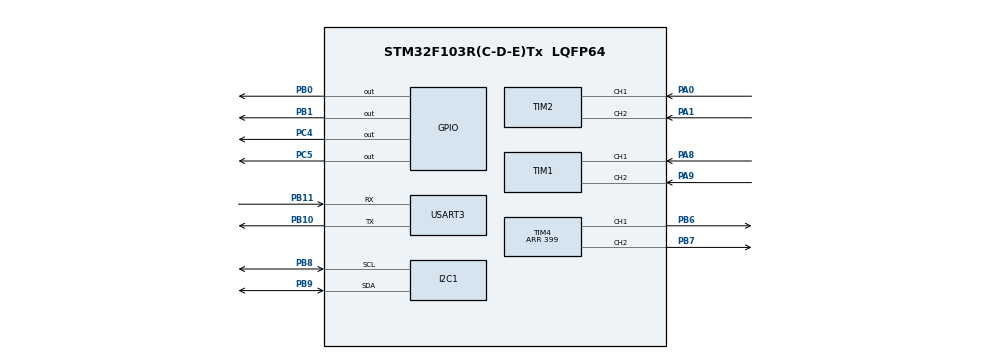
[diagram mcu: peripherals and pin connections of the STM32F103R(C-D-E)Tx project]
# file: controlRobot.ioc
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I2C1.I2C_Mode=I2C_Fast
Mcu.Family=STM32F1
Mcu.Name=STM32F103R(C-D-E)Tx
Mcu.Package=LQFP64
NVIC.PriorityGroup=NVIC_PRIORITYGROUP_4
PA0-WKUP.Signal=S_TIM2_CH1_ETR
PA1.Signal=S_TIM2_CH2
PA8.Signal=S_TIM1_CH1
PA9.Signal=S_TIM1_CH2
PB0.Signal=GPIO_Output
PB1.Signal=GPIO_Output
PB10.Mode=Asynchronous
PB10.Signal=USART3_TX
PB11.Mode=Asynchronous
PB11.Signal=USART3_RX
PB6.Signal=S_TIM4_CH1
PB7.Signal=S_TIM4_CH2
PB8.Mode=I2C
PB8.Signal=I2C1_SCL
PB9.Mode=I2C
PB9.Signal=I2C1_SDA
PC4.Signal=GPIO_Output
PC5.Signal=GPIO_Output
ProjectManager.HeapSize=0x200
ProjectManager.StackSize=0x400
ProjectManager.TargetToolchain=STM32CubeIDE
RCC.APB1Freq_Value=8000000
RCC.APB2Freq_Value=8000000
SH.S_TIM1_CH1.0=TIM1_CH1,Encoder_Interface
SH.S_TIM1_CH2.0=TIM1_CH2,Encoder_Interface
SH.S_TIM2_CH1_ETR.0=TIM2_CH1,Encoder_Interface
SH.S_TIM2_CH2.0=TIM2_CH2,Encoder_Interface
SH.S_TIM4_CH1.0=TIM4_CH1,PWM Generation1 CH1
SH.S_TIM4_CH2.0=TIM4_CH2,PWM Generation2 CH2
TIM4.Channel-PWM\ Generation1\ CH1=TIM_CHANNEL_1
TIM4.Channel-PWM\ Generation2\ CH2=TIM_CHANNEL_2
TIM4.Period=399
TIM6.Period=499
TIM6.Prescaler=79
USART3.VirtualMode=VM_ASYNC
VP_SYS_VS_ND.Mode=No_Debug
VP_TIM6_VS_ClockSourceINT.Mode=Enable_Timer
board=custom

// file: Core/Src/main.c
/* USER CODE BEGIN Header */
/**
  ******************************************************************************
  * @file           : main.c
  * @brief          : Main program body
  ******************************************************************************
  * @attention
  *
  * Copyright (c) 2026 STMicroelectronics.
  * All rights reserved.
  *
  * This software is licensed under terms that can be found in the LICENSE file
  * in the root directory of this software component.
  * If no LICENSE file comes with this software, it is provided AS-IS.
  *
  ******************************************************************************
  */
/* USER CODE END Header */
#include "main.h"
#include <stdio.h>
#include <math.h>

/* USER CODE BEGIN PD */
#define MPU6050_ADDR     0xD0   /* AD0 en bajo → dirección 0x68 shifteada */
#define MPU6050_PWR_MGT  0x6B
#define MPU6050_ACCEL    0x3B
#define MPU6050_GYRO     0x43
#define RAD_TO_DEG       57.2957795f
#define ALPHA            0.98f  /* filtro complementario */
#define DT               0.005f /* 5 ms = 200 Hz */
/* USER CODE END PD */

I2C_HandleTypeDef hi2c1;

TIM_HandleTypeDef htim1;
TIM_HandleTypeDef htim2;
TIM_HandleTypeDef htim4;
TIM_HandleTypeDef htim6;

UART_HandleTypeDef huart3;

/* USER CODE BEGIN PV */
/* Datos crudos MPU6050 */
int16_t ax_raw, ay_raw, az_raw;
int16_t gx_raw, gy_raw, gz_raw;
float angulo = 0.0f;
char uart_buf[64];
/* USER CODE END PV */

void SystemClock_Config(void);
static void MX_GPIO_Init(void);
static void MX_I2C1_Init(void);
static void MX_TIM1_Init(void);
static void MX_TIM2_Init(void);
static void MX_TIM4_Init(void);
static void MX_TIM6_Init(void);
static void MX_USART3_UART_Init(void);

/* USER CODE BEGIN 0 */
int32_t encoder1 = 0;
int32_t encoder2 = 0;

void Leer_Encoders(void)
{
    encoder1 = (int16_t)TIM1->CNT;
    encoder2 = (int16_t)TIM2->CNT;
    TIM1->CNT = 0;
    TIM2->CNT = 0;
}

void MPU6050_Init(void){
	uint8_t data = 0x00;
	HAL_I2C_Mem_Write(&hi2c1, MPU6050_ADDR, MPU6050_PWR_MGT, 1, &data, 1, HAL_MAX_DELAY);
}

void MPU6050_Read(void){
	uint8_t buf[14];
	HAL_I2C_Mem_Read(&hi2c1, MPU6050_ADDR, MPU6050_ACCEL, 1, buf, 14, HAL_MAX_DELAY);
    ax_raw = (int16_t)(buf[0]  << 8 | buf[1]);
    ay_raw = (int16_t)(buf[2]  << 8 | buf[3]);
    az_raw = (int16_t)(buf[4]  << 8 | buf[5]);
    /* buf[6] y buf[7] son temperatura, los saltamos */
    gx_raw = (int16_t)(buf[8]  << 8 | buf[9]);
    gy_raw = (int16_t)(buf[10] << 8 | buf[11]);
    gz_raw = (int16_t)(buf[12] << 8 | buf[13]);
}
/* USER CODE END 0 */

int main(void)
{

  /* MCU Configuration--------------------------------------------------------*/

  /* Reset of all peripherals, Initializes the Flash interface and the Systick. */
  HAL_Init();

  /* Configure the system clock */
  SystemClock_Config();

  /* Initialize all configured peripherals */
  MX_GPIO_Init();
  MX_I2C1_Init();
  MX_TIM1_Init();
  MX_TIM2_Init();
  MX_TIM4_Init();
  MX_TIM6_Init();
  MX_USART3_UART_Init();
  /* USER CODE BEGIN 2 */

  HAL_TIM_PWM_Start(&htim4, TIM_CHANNEL_1);
  HAL_TIM_PWM_Start(&htim4, TIM_CHANNEL_2);
  HAL_TIM_Encoder_Start(&htim1, TIM_CHANNEL_ALL);
  HAL_TIM_Encoder_Start(&htim2, TIM_CHANNEL_ALL);
  MPU6050_Init();
  HAL_TIM_Base_Start_IT(&htim6);
  /* USER CODE END 2 */

  /* Infinite loop */
  /* USER CODE BEGIN WHILE */
  while (1)
  {
	  /* ── PRUEBA 1: Motor A adelante ── */
	  HAL_GPIO_WritePin(GPIOC, GPIO_PIN_4, GPIO_PIN_SET);
	  HAL_GPIO_WritePin(GPIOC, GPIO_PIN_5, GPIO_PIN_RESET);
	  __HAL_TIM_SET_COMPARE(&htim4, TIM_CHANNEL_1, 200); /* 50% velocidad */
	  __HAL_TIM_SET_COMPARE(&htim4, TIM_CHANNEL_2, 0);
	  HAL_Delay(2000);

	  /* ── PRUEBA 2: Motor A atrás ── */
	  HAL_GPIO_WritePin(GPIOC, GPIO_PIN_4, GPIO_PIN_RESET);
	  HAL_GPIO_WritePin(GPIOC, GPIO_PIN_5, GPIO_PIN_SET);
	  __HAL_TIM_SET_COMPARE(&htim4, TIM_CHANNEL_1, 200);
	  __HAL_TIM_SET_COMPARE(&htim4, TIM_CHANNEL_2, 0);
	  HAL_Delay(2000);

	  /* ── PRUEBA 3: Motor B adelante ── */
	  HAL_GPIO_WritePin(GPIOB, GPIO_PIN_0, GPIO_PIN_SET);
	  HAL_GPIO_WritePin(GPIOB, GPIO_PIN_1, GPIO_PIN_RESET);
	  __HAL_TIM_SET_COMPARE(&htim4, TIM_CHANNEL_1, 0);
	  __HAL_TIM_SET_COMPARE(&htim4, TIM_CHANNEL_2, 200);
	  HAL_Delay(2000);

	  /* ── PRUEBA 4: Motor B atrás ── */
	  HAL_GPIO_WritePin(GPIOB, GPIO_PIN_0, GPIO_PIN_RESET);
	  HAL_GPIO_WritePin(GPIOB, GPIO_PIN_1, GPIO_PIN_SET);
	  __HAL_TIM_SET_COMPARE(&htim4, TIM_CHANNEL_1, 0);
	  __HAL_TIM_SET_COMPARE(&htim4, TIM_CHANNEL_2, 200);
	  HAL_Delay(2000);

	  /* ── Parar todo ── */
	  HAL_GPIO_WritePin(GPIOC, GPIO_PIN_4|GPIO_PIN_5, GPIO_PIN_RESET);
	  HAL_GPIO_WritePin(GPIOB, GPIO_PIN_0|GPIO_PIN_1, GPIO_PIN_RESET);
	  __HAL_TIM_SET_COMPARE(&htim4, TIM_CHANNEL_1, 0);
	  __HAL_TIM_SET_COMPARE(&htim4, TIM_CHANNEL_2, 0);
	  HAL_Delay(2000);
    /* USER CODE END WHILE */

  }
}

void SystemClock_Config(void)
{
  RCC_OscInitTypeDef RCC_OscInitStruct = {0};
  RCC_ClkInitTypeDef RCC_ClkInitStruct = {0};

  /** Initializes the RCC Oscillators according to the specified parameters
  * in the RCC_OscInitTypeDef structure.
  */
  RCC_OscInitStruct.OscillatorType = RCC_OSCILLATORTYPE_HSI;
  RCC_OscInitStruct.HSIState = RCC_HSI_ON;
  RCC_OscInitStruct.HSICalibrationValue = RCC_HSICALIBRATION_DEFAULT;
  RCC_OscInitStruct.PLL.PLLState = RCC_PLL_NONE;
  if (HAL_RCC_OscConfig(&RCC_OscInitStruct) != HAL_OK)
  {
    Error_Handler();
  }

  /** Initializes the CPU, AHB and APB buses clocks
  */
  RCC_ClkInitStruct.ClockType = RCC_CLOCKTYPE_HCLK|RCC_CLOCKTYPE_SYSCLK
                              |RCC_CLOCKTYPE_PCLK1|RCC_CLOCKTYPE_PCLK2;
  RCC_ClkInitStruct.SYSCLKSource = RCC_SYSCLKSOURCE_HSI;
  RCC_ClkInitStruct.AHBCLKDivider = RCC_SYSCLK_DIV1;
  RCC_ClkInitStruct.APB1CLKDivider = RCC_HCLK_DIV1;
  RCC_ClkInitStruct.APB2CLKDivider = RCC_HCLK_DIV1;

  if (HAL_RCC_ClockConfig(&RCC_ClkInitStruct, FLASH_LATENCY_0) != HAL_OK)
  {
    Error_Handler();
  }
}

static void MX_I2C1_Init(void)
{

  hi2c1.Instance = I2C1;
  hi2c1.Init.ClockSpeed = 400000;
  hi2c1.Init.DutyCycle = I2C_DUTYCYCLE_2;
  hi2c1.Init.OwnAddress1 = 0;
  hi2c1.Init.AddressingMode = I2C_ADDRESSINGMODE_7BIT;
  hi2c1.Init.DualAddressMode = I2C_DUALADDRESS_DISABLE;
  hi2c1.Init.OwnAddress2 = 0;
  hi2c1.Init.GeneralCallMode = I2C_GENERALCALL_DISABLE;
  hi2c1.Init.NoStretchMode = I2C_NOSTRETCH_DISABLE;
  if (HAL_I2C_Init(&hi2c1) != HAL_OK)
  {
    Error_Handler();
  }

}

static void MX_TIM1_Init(void)
{

  TIM_Encoder_InitTypeDef sConfig = {0};
  TIM_MasterConfigTypeDef sMasterConfig = {0};

  htim1.Instance = TIM1;
  htim1.Init.Prescaler = 0;
  htim1.Init.CounterMode = TIM_COUNTERMODE_UP;
  htim1.Init.Period = 65535;
  htim1.Init.ClockDivision = TIM_CLOCKDIVISION_DIV1;
  htim1.Init.RepetitionCounter = 0;
  htim1.Init.AutoReloadPreload = TIM_AUTORELOAD_PRELOAD_DISABLE;
  sConfig.EncoderMode = TIM_ENCODERMODE_TI1;
  sConfig.IC1Polarity = TIM_ICPOLARITY_RISING;
  sConfig.IC1Selection = TIM_ICSELECTION_DIRECTTI;
  sConfig.IC1Prescaler = TIM_ICPSC_DIV1;
  sConfig.IC1Filter = 0;
  sConfig.IC2Polarity = TIM_ICPOLARITY_RISING;
  sConfig.IC2Selection = TIM_ICSELECTION_DIRECTTI;
  sConfig.IC2Prescaler = TIM_ICPSC_DIV1;
  sConfig.IC2Filter = 0;
  if (HAL_TIM_Encoder_Init(&htim1, &sConfig) != HAL_OK)
  {
    Error_Handler();
  }
  sMasterConfig.MasterOutputTrigger = TIM_TRGO_RESET;
  sMasterConfig.MasterSlaveMode = TIM_MASTERSLAVEMODE_DISABLE;
  if (HAL_TIMEx_MasterConfigSynchronization(&htim1, &sMasterConfig) != HAL_OK)
  {
    Error_Handler();
  }

}

static void MX_TIM2_Init(void)
{

  TIM_Encoder_InitTypeDef sConfig = {0};
  TIM_MasterConfigTypeDef sMasterConfig = {0};

  htim2.Instance = TIM2;
  htim2.Init.Prescaler = 0;
  htim2.Init.CounterMode = TIM_COUNTERMODE_UP;
  htim2.Init.Period = 65535;
  htim2.Init.ClockDivision = TIM_CLOCKDIVISION_DIV1;
  htim2.Init.AutoReloadPreload = TIM_AUTORELOAD_PRELOAD_DISABLE;
  sConfig.EncoderMode = TIM_ENCODERMODE_TI1;
  sConfig.IC1Polarity = TIM_ICPOLARITY_RISING;
  sConfig.IC1Selection = TIM_ICSELECTION_DIRECTTI;
  sConfig.IC1Prescaler = TIM_ICPSC_DIV1;
  sConfig.IC1Filter = 0;
  sConfig.IC2Polarity = TIM_ICPOLARITY_RISING;
  sConfig.IC2Selection = TIM_ICSELECTION_DIRECTTI;
  sConfig.IC2Prescaler = TIM_ICPSC_DIV1;
  sConfig.IC2Filter = 0;
  if (HAL_TIM_Encoder_Init(&htim2, &sConfig) != HAL_OK)
  {
    Error_Handler();
  }
  sMasterConfig.MasterOutputTrigger = TIM_TRGO_RESET;
  sMasterConfig.MasterSlaveMode = TIM_MASTERSLAVEMODE_DISABLE;
  if (HAL_TIMEx_MasterConfigSynchronization(&htim2, &sMasterConfig) != HAL_OK)
  {
    Error_Handler();
  }

}

static void MX_TIM4_Init(void)
{

  TIM_MasterConfigTypeDef sMasterConfig = {0};
  TIM_OC_InitTypeDef sConfigOC = {0};

  htim4.Instance = TIM4;
  htim4.Init.Prescaler = 0;
  htim4.Init.CounterMode = TIM_COUNTERMODE_UP;
  htim4.Init.Period = 399;
  htim4.Init.ClockDivision = TIM_CLOCKDIVISION_DIV1;
  htim4.Init.AutoReloadPreload = TIM_AUTORELOAD_PRELOAD_DISABLE;
  if (HAL_TIM_PWM_Init(&htim4) != HAL_OK)
  {
    Error_Handler();
  }
  sMasterConfig.MasterOutputTrigger = TIM_TRGO_RESET;
  sMasterConfig.MasterSlaveMode = TIM_MASTERSLAVEMODE_DISABLE;
  if (HAL_TIMEx_MasterConfigSynchronization(&htim4, &sMasterConfig) != HAL_OK)
  {
    Error_Handler();
  }
  sConfigOC.OCMode = TIM_OCMODE_PWM1;
  sConfigOC.Pulse = 0;
  sConfigOC.OCPolarity = TIM_OCPOLARITY_HIGH;
  sConfigOC.OCFastMode = TIM_OCFAST_DISABLE;
  if (HAL_TIM_PWM_ConfigChannel(&htim4, &sConfigOC, TIM_CHANNEL_1) != HAL_OK)
  {
    Error_Handler();
  }
  if (HAL_TIM_PWM_ConfigChannel(&htim4, &sConfigOC, TIM_CHANNEL_2) != HAL_OK)
  {
    Error_Handler();
  }
  HAL_TIM_MspPostInit(&htim4);

}

static void MX_TIM6_Init(void)
{

  TIM_MasterConfigTypeDef sMasterConfig = {0};

  htim6.Instance = TIM6;
  htim6.Init.Prescaler = 79;
  htim6.Init.CounterMode = TIM_COUNTERMODE_UP;
  htim6.Init.Period = 499;
  htim6.Init.AutoReloadPreload = TIM_AUTORELOAD_PRELOAD_DISABLE;
  if (HAL_TIM_Base_Init(&htim6) != HAL_OK)
  {
    Error_Handler();
  }
  sMasterConfig.MasterOutputTrigger = TIM_TRGO_RESET;
  sMasterConfig.MasterSlaveMode = TIM_MASTERSLAVEMODE_DISABLE;
  if (HAL_TIMEx_MasterConfigSynchronization(&htim6, &sMasterConfig) != HAL_OK)
  {
    Error_Handler();
  }

}

static void MX_USART3_UART_Init(void)
{

  huart3.Instance = USART3;
  huart3.Init.BaudRate = 115200;
  huart3.Init.WordLength = UART_WORDLENGTH_8B;
  huart3.Init.StopBits = UART_STOPBITS_1;
  huart3.Init.Parity = UART_PARITY_NONE;
  huart3.Init.Mode = UART_MODE_TX_RX;
  huart3.Init.HwFlowCtl = UART_HWCONTROL_NONE;
  huart3.Init.OverSampling = UART_OVERSAMPLING_16;
  if (HAL_UART_Init(&huart3) != HAL_OK)
  {
    Error_Handler();
  }

}

static void MX_GPIO_Init(void)
{
  GPIO_InitTypeDef GPIO_InitStruct = {0};
  /* USER CODE BEGIN MX_GPIO_Init_1 */
  /* Habilitar AFIO y liberar PB3 del JTAG para usarlo como GPIO */
  __HAL_RCC_AFIO_CLK_ENABLE();
  __HAL_AFIO_REMAP_SWJ_ENABLE();
  /* USER CODE END MX_GPIO_Init_1 */

  /* GPIO Ports Clock Enable */
  __HAL_RCC_GPIOA_CLK_ENABLE();
  __HAL_RCC_GPIOC_CLK_ENABLE();
  __HAL_RCC_GPIOB_CLK_ENABLE();

  /*Configure GPIO pin Output Level */
  HAL_GPIO_WritePin(GPIOC, GPIO_PIN_4|GPIO_PIN_5, GPIO_PIN_RESET);

  /*Configure GPIO pin Output Level */
  HAL_GPIO_WritePin(GPIOB, GPIO_PIN_0|GPIO_PIN_1, GPIO_PIN_RESET);

  /*Configure GPIO pins : PC4 PC5 */
  GPIO_InitStruct.Pin = GPIO_PIN_4|GPIO_PIN_5;
  GPIO_InitStruct.Mode = GPIO_MODE_OUTPUT_PP;
  GPIO_InitStruct.Pull = GPIO_NOPULL;
  GPIO_InitStruct.Speed = GPIO_SPEED_FREQ_LOW;
  HAL_GPIO_Init(GPIOC, &GPIO_InitStruct);

  /*Configure GPIO pins : PB0 PB1 */
  GPIO_InitStruct.Pin = GPIO_PIN_0|GPIO_PIN_1;
  GPIO_InitStruct.Mode = GPIO_MODE_OUTPUT_PP;
  GPIO_InitStruct.Pull = GPIO_NOPULL;
  GPIO_InitStruct.Speed = GPIO_SPEED_FREQ_LOW;
  HAL_GPIO_Init(GPIOB, &GPIO_InitStruct);

}

void Error_Handler(void)
{
  __disable_irq();
  while (1)
  {
  }
}
